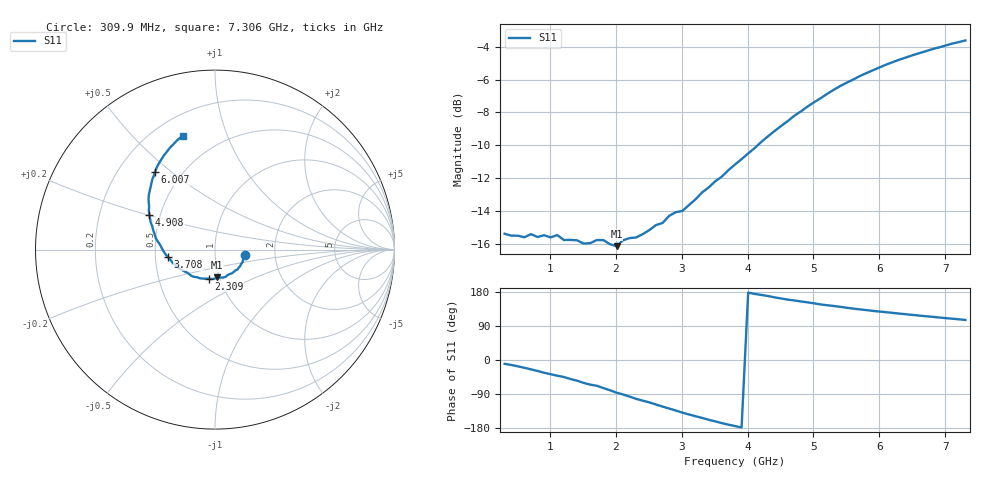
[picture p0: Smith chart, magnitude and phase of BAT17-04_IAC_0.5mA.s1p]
! Infineon Technologies  Discrete & RF Semiconductors
! BAT17-04
! IAC = 0.5 mA
! One-Port S-Parameters
# Hz  S  MA  R  50
!f  S11
!Hz  Mag  Ang
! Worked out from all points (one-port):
!   71 points, 309.9 MHz to 7.306 GHz, reference 50 ohm
!   lowest |S11| = -16.2 dB at 2.009 GHz (marker M1), VSWR 1.37, Z = 48.6 - j15.5 ohm
!   |S11| at or under -10 dB: start of sweep to 4.155 GHz
!   S11 on the Smith chart (normalised r, x): 309.9 MHz: 1.40, -0.09; 2.309 GHz: 0.88, -0.29; 3.708 GHz: 0.58, -0.05; 4.908 GHz: 0.43, +0.20; 6.007 GHz: 0.36, +0.44; 7.306 GHz: 0.32, +0.71
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3.0985e8  0.1698 -10.0
6.097e8  0.1656 -20.5
7.0965e8  0.1693 -24.7
8.096e8  0.166 -28.9
9.0955e8  0.168 -33.7
1.0095e9  0.1655 -37.5
1.10945e9  0.1682 -41.5
1.2094e9  0.1625 -44.8
1.4093e9  0.1621 -54.6
1.50925e9  0.1586 -60.4
1.8091e9  0.1624 -74.0
2.009e9  0.1556 -86.2
2.10895e9  0.1622 -91.0
2.30885e9  0.1655 -102.6
2.70865e9  0.1832 -122.9
2.8086e9  0.1926 -128.2
3.0085e9  0.1993 -138.9
3.30835e9  0.2269 -152.7
3.70815e9  0.2653 -170.6
3.8081e9  0.2761 -174.3
4.30785e9  0.3363 168.9
4.70765e9  0.3885 157.2
4.90755e9  0.4143 152.2
5.30735e9  0.4664 142.6
5.6072e9  0.5018 135.5
6.007e9  0.5461 127.8
6.50675e9  0.5946 118.9
7.30635e9  0.6593 105.7
